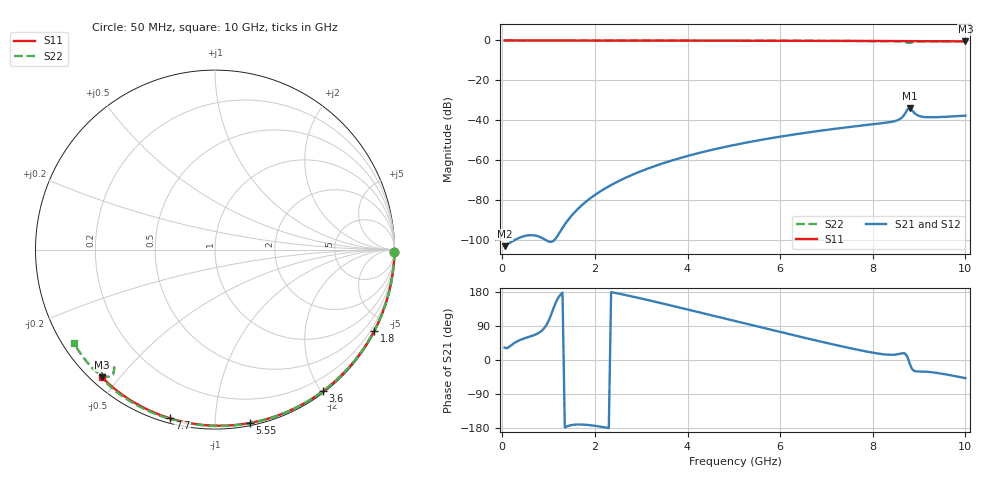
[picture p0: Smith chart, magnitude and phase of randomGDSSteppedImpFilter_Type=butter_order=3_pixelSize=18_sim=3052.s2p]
! freq	dB(S11)	phase(S11)	dB(S12)	phase(S12)
!  dB(S21)	phase(S21)	dB(S22)	phase(S22)
!S-par simulation data
#  GHz  S  DB  R 50
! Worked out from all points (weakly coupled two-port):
!   200 points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, 50 MHz to 10 GHz, reference 50 ohm
!   highest |S21| = -33.86 dB at 8.8 GHz (marker M1); lowest = -102.9 dB at 50 MHz (marker M2)
!   lowest |S11| = -0.4 dB at 10 GHz (marker M3), VSWR 39.19, Z = 1.53 - j22.5 ohm
!   |S11| at or under -10 dB: nowhere
!   |S22| runs from -1.3 to 0.0 dB; largest |S21 - S12| = 0
!   S11 on the Smith chart (normalised r, x): 50 MHz: open; 1.8 GHz: 0.04, -4.17; 3.6 GHz: 0.02, -2.02; 5.55 GHz: 0.02, -1.22; 7.7 GHz: 0.02, -0.77; 10 GHz: 0.03, -0.45
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0.05  -0.00 -0.8  -102.92 32.8  -102.92 32.8  -0.00 -0.8
0.9  -0.02 -13.6  -99.33 83.3  -99.33 83.3  -0.02 -15.3
1.75  -0.03 -26.2  -81.77 -170.5  -81.77 -170.5  -0.04 -29.5
1.8  -0.03 -26.9  -80.79 -170.9  -80.79 -170.9  -0.04 -30.3
1.85  -0.04 -27.7  -79.86 -171.5  -79.86 -171.5  -0.04 -31.1
2.15  -0.04 -32.1  -75.03 -176.5  -75.03 -176.5  -0.05 -36.0
2.55  -0.05 -37.9  -69.94 174.2  -69.94 174.2  -0.05 -42.5
3.4  -0.07 -49.9  -61.99 150.9  -61.99 150.9  -0.07 -55.9
3.6  -0.07 -52.7  -60.50 145.1  -60.50 145.1  -0.08 -59.0
5.05  -0.11 -72.2  -52.10 101.9  -52.10 101.9  -0.12 -80.7
5.55  -0.13 -78.7  -49.90 87.0  -49.90 87.0  -0.14 -87.9
6.7  -0.18 -93.1  -45.69 53.6  -45.69 53.6  -0.20 -103.9
7.7  -0.24 -105.1  -42.74 26.3  -42.74 26.3  -0.27 -117.4
8.35  -0.29 -112.7  -40.92 13.9  -40.92 13.9  -0.34 -126.6
8.6  -0.31 -115.6  -39.12 16.8  -39.12 16.8  -0.45 -131.0
8.7  -0.32 -116.7  -36.50 16.9  -36.50 16.9  -0.74 -133.3
8.75  -0.32 -117.3  -34.52 7.9  -34.52 7.9  -1.12 -133.4
8.8  -0.32 -117.8  -33.86 -10.7  -33.86 -10.7  -1.27 -130.4
8.85  -0.32 -118.4  -35.05 -24.2  -35.05 -24.2  -0.93 -129.2
8.95  -0.33 -119.6  -37.23 -30.2  -37.23 -30.2  -0.56 -131.0
9.1  -0.35 -121.3  -38.27 -30.6  -38.27 -30.6  -0.46 -133.8
10  -0.44 -131.5  -37.63 -47.9  -37.63 -47.9  -0.51 -146.4
